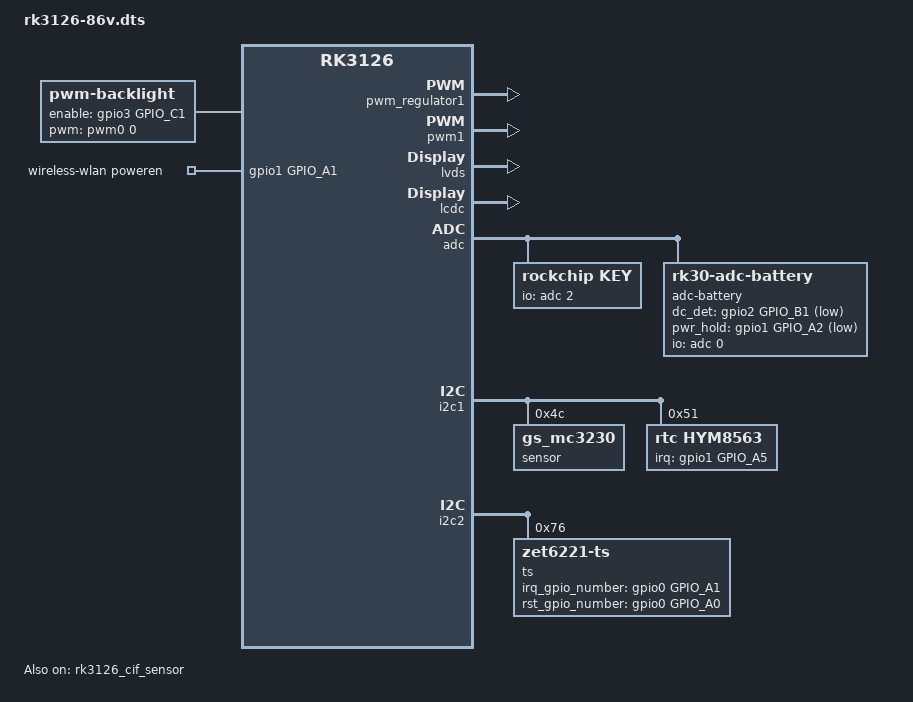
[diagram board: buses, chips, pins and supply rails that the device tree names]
#include "rk312x-sdk.dtsi"
#include "lcd-86v-rgb1024x600.dtsi"
//#include "lcd-y81349.dtsi"

/ {
	 compatible = "rockchip,rk3126";
        backlight {
                compatible = "pwm-backlight";
                pwms = <&pwm0 0 25000>;
			  brightness-levels = <255 169 168 168 167 166 166 165 164 164 163 162 162 161 160 160 159 158 158 157 156 156 155 154 154 153 152 152 151 150 150 149 148 148 147 146 146 145 144 144 143 142 142 141 140 140 139 138 138 137 136 136 135 134 134 133 132 132 131 130 130 129 128 128 127 126 126 125 124 124 123 122 122 121 120 120 119 118 118 117 116 116 115 114 114 113 112 112 111 110 110 109 108 108 107 106 106 105 104 104 103 102 102 101 100 100 99 98 98 97 96 96 95 94 94 93 92 92 91 90 90 89 88 88 87 86 86 85 84 84 83 82 82 81 80 80 79 78 78 77 76 76 75 74 74 73 72 72 71 70 70 69 68 68 67 66 66 65 64 64 63 62 62 61 60 60 59 58 58 57 56 56 55 54 54 53 52 52 51 50 50 49 48 48 47 46 46 45 44 44 43 42 42 41 40 40 39 38 38 37 36 36 35 34 34 33 32 32 31 30 30 29 28 28 27 26 26 25 24 24 23 22 22 21 20 20 19 18 18 17 16 16 15 14 14 13 12 12 11 10 10 9 8 8 7 6 6 5 4 4 3 2 2 1 1 1 0 >;
			  default-brightness-level = <128>;
                enable-gpios = <&gpio3 GPIO_C1 GPIO_ACTIVE_HIGH>;
        };


	usb_control {
		compatible = "rockchip,rk3126-usb-control";
		//host_drv_gpio = <&gpio2 GPIO_B4 GPIO_ACTIVE_LOW>;
		//otg_drv_gpio = <&gpio2 GPIO_B6 GPIO_ACTIVE_LOW>; 

		rockchip,remote_wakeup;
		rockchip,usb_irq_wakeup;
		};
		
        wireless-wlan {
        compatible = "wlan-platdata";

        wifi_chip_type = "rtkwifi";
        sdio_vref = <1800>; //1800mv or 3300mv

        //power_ctrl_by_pmu;
       // pmu_regulator = "act_ldo3";
       // pmu_enable_level = <1>; //1->HIGH, 0->LOW

        WIFI,poweren_gpio = <&gpio1 GPIO_A1 GPIO_ACTIVE_HIGH>;
       // WIFI,host_wake_irq = <&gpio4 GPIO_D6 GPIO_ACTIVE_HIGH>;
        //WIFI,reset_gpio = <&gpio0 GPIO_A2 GPIO_ACTIVE_LOW>;

        status = "okay";
    }; 
    
    	rockchip_suspend {
                rockchip,ctrbits = <
                        (0
                        |RKPM_CTR_PWR_DMNS
                        |RKPM_CTR_GTCLKS
                        |RKPM_CTR_PLLS
                        //|RKPM_CTR_ARMOFF_LPMD
                        |RKPM_CTR_IDLESRAM_MD
                        |RKPM_CTR_DDR
                        |RKPM_CTR_VOLTS
    
                        |RKPM_CTR_VOL_PWM1
                        )
                >;
                rockchip,pmic-suspend_gpios = <
                       GPIO1_A0
                        >;
        };
	
    chosen {
	bootargs = "vmalloc=496M cma=4M rockchip_jtag";
       };

};

&vd_arm {
	pd_ddr {
		 clk_ddr {
			operating-points = <
				/* KHz    uV */
				200000 1100000
				300000 1100000
				400000 1100000
				533000 1250000
				>;

			freq-table = <
				/*status		freq(KHz)*/
				SYS_STATUS_NORMAL	400000
				SYS_STATUS_SUSPEND	200000
				//SYS_STATUS_VIDEO_1080P  240000
				//SYS_STATUS_VIDEO_4K     400000
				SYS_STATUS_PERFORMANCE  528000
				//SYS_STATUS_DUALVIEW	400000
				//SYS_STATUS_BOOST	324000
				//SYS_STATUS_ISP		533000
				>;
			auto-freq-table = <
				240000
				324000
				396000
				528000
				>;
			auto-freq=<0>;
			status="okay";
			};
		};
	pd_gpu {
		 clk_gpu {
			operating-points = <
				/* KHz    uV */
				200000 1100000
				300000 1100000
				400000  1150000
				//480000  1250000
				>;
				status = "okay";
			};
		};
	pd_core {
		 clk_core {
			operating-points = <
				/* KHz    uV */
				216000 1000000
				408000 1000000
				600000 1100000
				696000 1150000
				816000 1200000
				1008000 1350000
				1200000 1425000
				>;
			virt-temp-limit-1-cpu-busy = <
			/* target-temp	limit-freq */
				75	1008000
				85	1200000
				95	1200000
				100	1200000
				>;
			virt-temp-limit-2-cpu-busy = <
			/* target-temp	limit-freq */
				75	912000
				85	1008000
				95	1104000
				100	1200000
				>;
			virt-temp-limit-3-cpu-busy = <
			/* target-temp	limit-freq */
				75	816000
				85	912000
				95	100800
				100	110400
				>;
			virt-temp-limit-4-cpu-busy = <
			/* target-temp	limit-freq */
				75	816000
				85	912000
				95	100800
				100	110400
				>;
			temp-limit-enable = <1>;
			target-temp = <85>;
		};
	 };
};

&vd_logic {
			regulator_name = "vdd_logic";
			status = "disabled";

	};



&pwm_regulator1 {
	status = "okay";
};

&pwm1 {
	status = "okay";
};

&fb {
	rockchip,disp-mode = <NO_DUAL>;
	rockchip,uboot-logo-on = <0>;
};

&rk_screen {
	display-timings = <&disp_timings>;
};

&lvds {
	status = "okay";

	pinctrl-names = "lcdc", "sleep";
	pinctrl-0 = <&lcdc0_lcdc_d>;
	pinctrl-1 = <&lcdc0_lcdc_gpio>;
};

&lcdc {
	status = "okay";

	pinctrl-names = "default", "gpio";
	pinctrl-0 = <&lcdc0_lcdc>;
	pinctrl-1 = <&lcdc0_gpio>;

	rockchip,fb-win-map = <FB_DEFAULT_ORDER>;

	power_ctr: power_ctr {
		rockchip,debug = <0>;
		lcd_en: lcd_en {
			rockchip,power_type = <GPIO>;
			gpios = <&gpio3 GPIO_B3 GPIO_ACTIVE_HIGH>;
			rockchip,delay = <10>;
		};
	};
};

&hdmi {
        status = "disabled";
};

&adc {
	status = "okay";

	key: key {
		compatible = "rockchip,key";
		io-channels = <&adc 2>;

		vol-up-key {
			linux,code = <115>;
			label = "volume up";

			rockchip,adc_value = <1>;

		};

		vol-down-key {
			linux,code = <114>;
			label = "volume down";

			rockchip,adc_value = <512>;

		};

		power-key {
			gpios = <&gpio1 GPIO_A4 GPIO_ACTIVE_LOW>;
			linux,code = <116>;
			label = "power";
			gpio-key,wakeup;
		};

	};
	

	adc-battery {
		compatible = "rk30-adc-battery";
                io-channels = <&adc 0>;
		dc_det_gpio = <&gpio2 GPIO_B1 GPIO_ACTIVE_LOW>;
		pwr_hold = <&gpio1 GPIO_A2 GPIO_ACTIVE_LOW>;
		//bat_low_gpio = <&gpio0 GPIO_A7 GPIO_ACTIVE_LOW>;
		//chg_ok_gpio = <&gpio0 GPIO_B1 GPIO_ACTIVE_HIGH>;
		bat_table = <0 0 0 0 100 100
                 3500 3619 3678 3734 3742 3783 3813 3884 3968 4110 4220
                 3750 3710 3770 3830 3850 3880 3910 3980 4060 4240 4300
                >;
		is_dc_charge = <1>;
		is_usb_charge = <0>;

	}; 

	
};

&i2c0 {
	status = "disabled";
	rk818: rk818@1c {
		reg = <0x1c>;
		status = "disabled";
	};
};


&i2c1 {
	status = "okay";

		sensor@4c {
		compatible = "gs_mc3230";
		reg = <0x4c>;
		type = <SENSOR_TYPE_ACCEL>;
		//irq-gpio = <&gpio2 GPIO_B2 IRQ_TYPE_LEVEL_LOW>;
		irq_enable = <0>;
		poll_delay_ms = <30>;
		layout = <1>;
	};
	
	    rtc@51 {
        compatible = "rtc,hym8563";
        reg = <0x51>;
        irq_gpio = <&gpio1 GPIO_A5 IRQ_TYPE_EDGE_FALLING>;
    };  
};

&i2c2 {
	status = "okay";
	
		ts@76 {
		compatible = "zet6221-ts";
		reg = <0x76>;
		pinctrl-names = "default", "gpio";
		pinctrl-0 = <&i2c0_sda &i2c0_scl>;
		pinctrl-1 = <&i2c0_gpio>;
		//gpios = <&gpio0 GPIO_A1 GPIO_ACTIVE_LOW>, <&gpio0 GPIO_A0 GPIO_ACTIVE_LOW>;
		irq_gpio_number = <&gpio0 GPIO_A1 IRQ_TYPE_LEVEL_LOW>;
		rst_gpio_number = <&gpio0 GPIO_A0 GPIO_ACTIVE_HIGH>;
	};
	
		ts@55 {
		compatible = "goodix,gt8xx";
		reg = <0x55>;
		touch-gpio = <&gpio1 GPIO_B0 IRQ_TYPE_LEVEL_LOW>;
		reset-gpio = <&gpio2 GPIO_C1 GPIO_ACTIVE_LOW>;
		//power-gpio = <&gpio0 GPIO_C5 GPIO_ACTIVE_LOW>;
		max-x = <1280>;
		max-y = <800>;
		status = "disabled";
	};
	

};


&sdmmc {
	cd-gpios = <&gpio2 GPIO_A7 GPIO_ACTIVE_HIGH>;/*CD GPIO*/
	status = "disabled";
};

&sdio {
	status = "disabled";
};


&codec {
	spk_ctl_io = <&gpio1 GPIO_B0 GPIO_ACTIVE_HIGH>;
	spk-mute-delay = <200>;
	hp-mute-delay = <100>;
	rk312x_for_mid = <1>;
	is_rk3128 = <0>;
	spk_volume = <25>;
	hp_volume = <25>;
	capture_volume = <26>;
	gpio_debug = <0>;
	codec_hp_det = <0>;
};



&dwc_control_usb {
	usb_uart {
		status = "disabled";
	};
};

&rk3126_cif_sensor{
	status = "okay";
};
